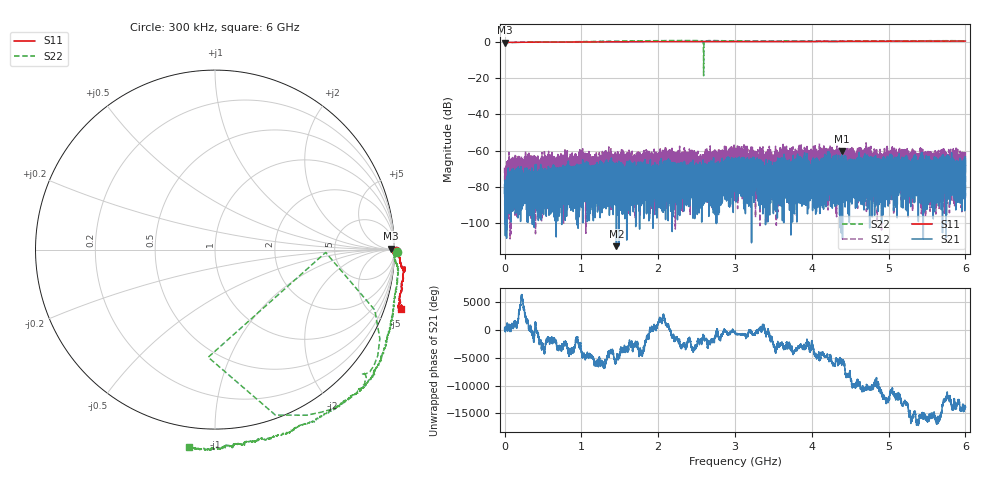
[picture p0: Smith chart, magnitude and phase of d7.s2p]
!Agilent Technologies,N5230C,SG49000117,A.08.50.07
!Agilent N5230C: A.08.50.07
!Date: Thursday, May 16, 2024 18:11:05
!Correction: S11(Full 2 Port(1,2))
!S21(Full 2 Port(1,2))
!S12(Full 2 Port(1,2))
!S22(Full 2 Port(1,2))
!S2P File: Measurements: S11, S21, S12, S22:
# Hz S  MA  R 50
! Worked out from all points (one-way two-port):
!   20001 points, 300 kHz to 6 GHz, reference 50 ohm
!   highest |S21| = -60.52 dB at 4.397 GHz (marker M1); lowest = -113.1 dB at 1.456 GHz (marker M2)
!   lowest |S11| = -0.2 dB at 600 kHz (marker M3), VSWR 110.62, Z = 4.99e+03 + j1.65e+03 ohm
!   |S11| at or under -10 dB: nowhere
!   |S22| runs from -18.5 to 1.1 dB; largest |S21 - S12| = 0.002
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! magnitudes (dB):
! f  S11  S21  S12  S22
! 300 kHz  0.1  -79.1  -69.5  0.1
! 600 kHz  -0.2  -79.9  -77.3  -0.3
! 28.8 MHz  0.0  -87.1  -75.7  0.0
! 204 MHz  0.1  -70.1  -70.7  0.1
! 1 GHz  0.2  -76.2  -72.8  0.4
! 1.456 GHz  0.4  -113.1  -77.7  0.7
! 2 GHz  0.5  -70.7  -66.3  1.0
! 2.148 GHz  0.5  -78.8  -62.4  1.0
! 2.578 GHz  0.5  -76.1  -71.6  0.7
! 2.633 GHz  0.5  -75.3  -67.7  0.8
! 3 GHz  0.5  -77.5  -68.6  0.9
! 3.247 GHz  0.5  -69.6  -72.9  0.8
! 3.379 GHz  0.5  -83.3  -64.7  0.9
! 3.832 GHz  0.5  -77.5  -68.9  0.8
! 4 GHz  0.5  -71.6  -70.4  0.8
! 4.21 GHz  0.6  -64.6  -64.5  0.7
! 4.397 GHz  0.6  -60.5  -79.2  0.7
! 4.881 GHz  0.7  -70.0  -71.2  0.8
! 5 GHz  0.7  -73.6  -73.1  0.8
! 5.867 GHz  0.7  -78.9  -76.5  1.0
! 5.97 GHz  0.7  -73.7  -66.1  0.9
! 6 GHz  0.7  -71.6  -87.6  0.9
